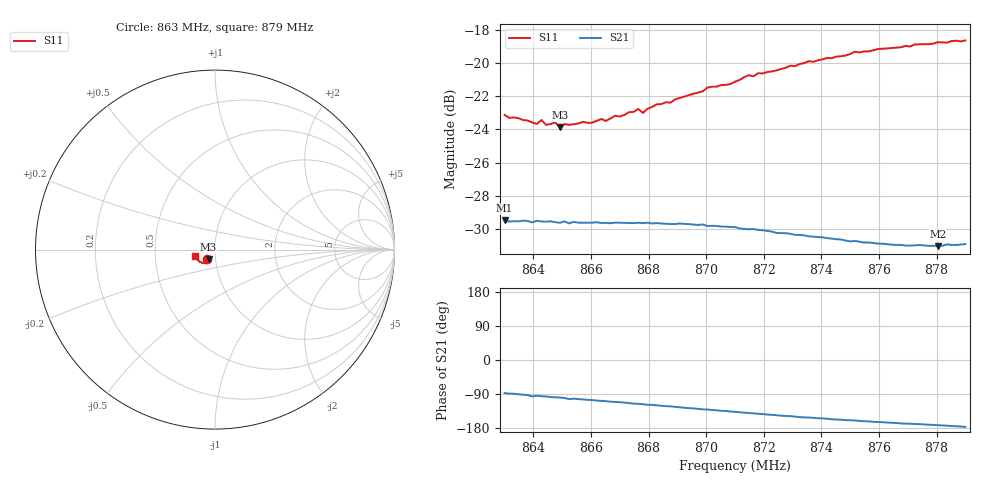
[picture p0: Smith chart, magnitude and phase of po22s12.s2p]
# HZ S RI R 50
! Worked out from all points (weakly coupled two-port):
!   101 points, 863 MHz to 879 MHz, reference 50 ohm
!   highest |S21| = -29.47 dB at 863 MHz (marker M1); lowest = -31.0 dB at 878.04 MHz (marker M2)
!   lowest |S11| = -23.9 dB at 864.92 MHz (marker M3), VSWR 1.14, Z = 46.3 - j4.93 ohm
!   |S11| at or under -10 dB: start of sweep to end of sweep
!   S12 and S22 are empty: the file has one direction only
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8.63e8  -0.0452 -0.0532  0.00159 -0.0336  0 0  0 0
8.6412e8  -0.0394 -0.0524  -0.00249 -0.0335  0 0  0 0
8.6428e8  -0.0393 -0.0547  -0.00322 -0.0332  0 0  0 0
8.6444e8  -0.0381 -0.0528  -0.00368 -0.0331  0 0  0 0
8.6476e8  -0.0391 -0.0535  -0.00493 -0.0328  0 0  0 0
8.6492e8  -0.0358 -0.0531  -0.00518 -0.0327  0 0  0 0
8.6508e8  -0.0354 -0.0551  -0.00595 -0.0329  0 0  0 0
8.6572e8  -0.0348 -0.0567  -0.00801 -0.0321  0 0  0 0
8.6636e8  -0.0355 -0.0578  -0.0101 -0.0314  0 0  0 0
8.6652e8  -0.0332 -0.0581  -0.0106 -0.0313  0 0  0 0
8.6764e8  -0.035 -0.0638  -0.0143 -0.0298  0 0  0 0
8.678e8  -0.0347 -0.0617  -0.0148 -0.0295  0 0  0 0
8.6844e8  -0.0358 -0.0661  -0.0169 -0.0283  0 0  0 0
8.7004e8  -0.0427 -0.0726  -0.0211 -0.0245  0 0  0 0
8.71e8  -0.0477 -0.0738  -0.0233 -0.0221  0 0  0 0
8.7148e8  -0.0522 -0.0756  -0.0242 -0.0203  0 0  0 0
8.7164e8  -0.0511 -0.0754  -0.0246 -0.02  0 0  0 0
8.7372e8  -0.0679 -0.0745  -0.0267 -0.0138  0 0  0 0
8.7516e8  -0.0829 -0.0692  -0.0273 -0.0102  0 0  0 0
8.7644e8  -0.0926 -0.061  -0.0275 -0.00701  0 0  0 0
8.7804e8  -0.1044 -0.0492  -0.0279 -0.00387  0 0  0 0
8.79e8  -0.1103 -0.0383  -0.0285 -0.00176  0 0  0 0
